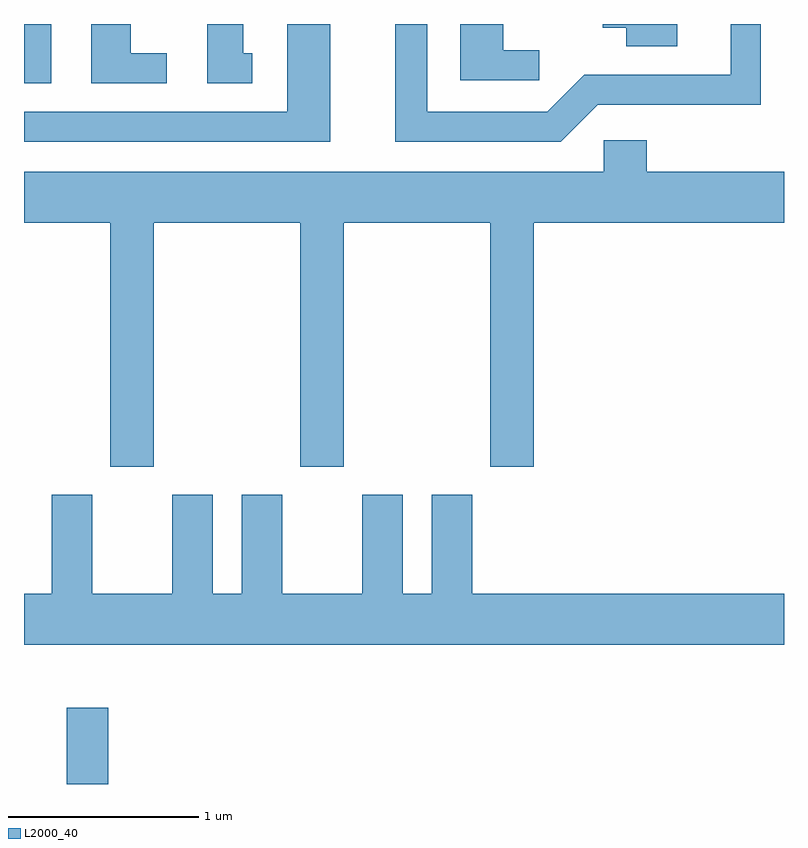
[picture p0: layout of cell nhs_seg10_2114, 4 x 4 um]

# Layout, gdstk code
import gdstk
lib = gdstk.Library(unit=1e-6, precision=1e-09)
def R(c, l, rs):  # rectangles x0, y0, x1, y1
    for r in rs: c.add(gdstk.rectangle(r[:2], r[2:], *l))
def P(c, l, *ps):  # polygons
    for p in ps: c.add(gdstk.Polygon(p, *l))
L2000_40 = (2000, 40)

nhs_seg10_2114 = lib.new_cell('nhs_seg10_2114')
R(nhs_seg10_2114, L2000_40, [(247.836,2106.522,248.054,2106.924), (247.611,2110.211,247.754,2110.522)])
P(nhs_seg10_2114, L2000_40, [(248.813,2110.369),(248.764,2110.369),(248.764,2110.522),(248.576,2110.522),(248.576,2110.211),(248.813,2110.211)],
  [(249.224,2110.522),(248.996,2110.522),(248.996,2110.059),(247.611,2110.059),(247.611,2109.901),(249.224,2109.901)],
  [(248.363,2110.369),(248.174,2110.369),(248.174,2110.522),(247.966,2110.522),(247.966,2110.211),(248.363,2110.211)],
  [(251.049,2110.522),(250.656,2110.522),(250.656,2110.501),(250.781,2110.501),(250.781,2110.406),(251.049,2110.406)],
  [(250.632,2110.096),(251.489,2110.096),(251.489,2110.522),(251.331,2110.522),(251.331,2110.254),(250.559,2110.254),(250.364,2110.059),(249.734,2110.059),(249.734,2110.522),(249.566,2110.522),(249.566,2109.901),(250.437,2109.901)],
  [(250.323,2110.384),(250.134,2110.384),(250.134,2110.522),(249.906,2110.522),(249.906,2110.226),(250.323,2110.226)],
  [(248.294,2109.476),(249.066,2109.476),(249.066,2108.191),(249.294,2108.191),(249.294,2109.476),(250.066,2109.476),(250.066,2108.191),(250.294,2108.191),(250.294,2109.476),(251.611,2109.476),(251.611,2109.744),(250.889,2109.744),(250.889,2109.909),(250.661,2109.909),(250.661,2109.744),(247.611,2109.744),(247.611,2109.476),(248.066,2109.476),(248.066,2108.191),(248.294,2108.191)],
  [(251.611,2107.524),(249.969,2107.524),(249.969,2108.044),(249.756,2108.044),(249.756,2107.524),(249.604,2107.524),(249.604,2108.044),(249.391,2108.044),(249.391,2107.524),(248.969,2107.524),(248.969,2108.044),(248.756,2108.044),(248.756,2107.524),(248.604,2107.524),(248.604,2108.044),(248.391,2108.044),(248.391,2107.524),(247.969,2107.524),(247.969,2108.044),(247.756,2108.044),(247.756,2107.524),(247.611,2107.524),(247.611,2107.256),(251.611,2107.256)])

lib.write_gds('nhs_seg10_2114.gds')
